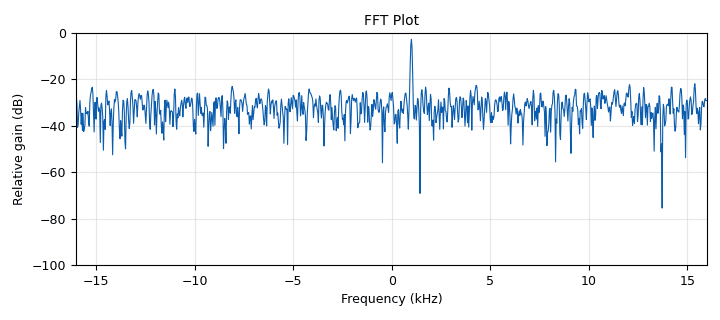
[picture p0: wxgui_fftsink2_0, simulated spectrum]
<?xml version='1.0' encoding='utf-8'?>
<flow_graph>
<block>
<key>blocks_udp_sink</key>
<param><key>id</key><value>blocks_udp_sink_0</value></param>
<param><key>type</key><value>byte</value></param>
<param><key>ipaddr</key><value>127.0.0.1</value></param>
<param><key>port</key><value>6663</value></param>
<param><key>psize</key><value>1472</value></param>
<param><key>eof</key><value>True</value></param>
<param><key>vlen</key><value>1</value></param>
</block>
<block>
<key>variable</key>
<param><key>id</key><value>samp_rate</value></param>
<param><key>value</key><value>32000</value></param>
</block>
<block>
<key>logpwrfft_x</key>
<param><key>id</key><value>logpwrfft_x_0</value></param>
<param><key>type</key><value>complex</value></param>
<param><key>sample_rate</key><value>samp_rate</value></param>
<param><key>fft_size</key><value>1024</value></param>
<param><key>ref_scale</key><value>2</value></param>
<param><key>frame_rate</key><value>5</value></param>
<param><key>average</key><value>True</value></param>
<param><key>avg_alpha</key><value>1.0</value></param>
</block>
<block>
<key>blocks_throttle</key>
<param><key>id</key><value>blocks_throttle_0_0</value></param>
<param><key>type</key><value>complex</value></param>
<param><key>samples_per_second</key><value>samp_rate</value></param>
</block>
<block>
<key>analog_sig_source_x</key>
<param><key>id</key><value>analog_sig_source_x_1</value></param>
<param><key>type</key><value>complex</value></param>
<param><key>samp_rate</key><value>samp_rate</value></param>
<param><key>waveform</key><value>analog.GR_SIN_WAVE</value></param>
<param><key>freq</key><value>1000</value></param>
<param><key>amp</key><value>1</value></param>
<param><key>offset</key><value>0</value></param>
</block>
<block>
<key>options</key>
<param><key>id</key><value>top_block</value></param>
<param><key>generate_options</key><value>wx_gui</value></param>
<param><key>category</key><value>Custom</value></param>
</block>
<block>
<key>wxgui_fftsink2</key>
<param><key>id</key><value>wxgui_fftsink2_0</value></param>
<param><key>type</key><value>complex</value></param>
<param><key>title</key><value>FFT Plot</value></param>
<param><key>samp_rate</key><value>samp_rate</value></param>
<param><key>baseband_freq</key><value>0</value></param>
<param><key>y_per_div</key><value>10</value></param>
<param><key>y_divs</key><value>10</value></param>
<param><key>ref_level</key><value>0</value></param>
<param><key>ref_scale</key><value>2.0</value></param>
<param><key>fft_size</key><value>1024</value></param>
<param><key>fft_rate</key><value>15</value></param>
<param><key>peak_hold</key><value>False</value></param>
<param><key>average</key><value>False</value></param>
<param><key>avg_alpha</key><value>0</value></param>
<param><key>win</key><value>None</value></param>
<param><key>freqvar</key><value>None</value></param>
</block>
<block>
<key>blocks_vector_to_stream</key>
<param><key>id</key><value>blocks_vector_to_stream_0</value></param>
<param><key>type</key><value>float</value></param>
<param><key>num_items</key><value>1024</value></param>
</block>
<block>
<key>blocks_float_to_char</key>
<param><key>id</key><value>blocks_float_to_char_0</value></param>
<param><key>scale</key><value>1</value></param>
</block>
<block>
<key>digital_simple_framer</key>
<param><key>id</key><value>digital_simple_framer_0</value></param>
<param><key>payload_bytesize</key><value>1024</value></param>
</block>
<block>
<key>blocks_add_xx</key>
<param><key>id</key><value>blocks_add_xx_0</value></param>
<param><key>type</key><value>complex</value></param>
</block>
<block>
<key>analog_noise_source_x</key>
<param><key>id</key><value>analog_noise_source_x_0</value></param>
<param><key>type</key><value>complex</value></param>
<param><key>noise_type</key><value>analog.GR_GAUSSIAN</value></param>
<param><key>amp</key><value>1</value></param>
<param><key>seed</key><value>0</value></param>
</block>
<connection><source_block_id>blocks_throttle_0_0</source_block_id><sink_block_id>wxgui_fftsink2_0</sink_block_id><source_key>0</source_key><sink_key>0</sink_key></connection>
<connection><source_block_id>logpwrfft_x_0</source_block_id><sink_block_id>blocks_vector_to_stream_0</sink_block_id><source_key>0</source_key><sink_key>0</sink_key></connection>
<connection><source_block_id>blocks_throttle_0_0</source_block_id><sink_block_id>logpwrfft_x_0</sink_block_id><source_key>0</source_key><sink_key>0</sink_key></connection>
<connection><source_block_id>blocks_float_to_char_0</source_block_id><sink_block_id>digital_simple_framer_0</sink_block_id><source_key>0</source_key><sink_key>0</sink_key></connection>
<connection><source_block_id>digital_simple_framer_0</source_block_id><sink_block_id>blocks_udp_sink_0</sink_block_id><source_key>0</source_key><sink_key>0</sink_key></connection>
<connection><source_block_id>analog_sig_source_x_1</source_block_id><sink_block_id>blocks_add_xx_0</sink_block_id><source_key>0</source_key><sink_key>1</sink_key></connection>
<connection><source_block_id>blocks_add_xx_0</source_block_id><sink_block_id>blocks_throttle_0_0</sink_block_id><source_key>0</source_key><sink_key>0</sink_key></connection>
<connection><source_block_id>blocks_vector_to_stream_0</source_block_id><sink_block_id>blocks_float_to_char_0</sink_block_id><source_key>0</source_key><sink_key>0</sink_key></connection>
<connection><source_block_id>analog_noise_source_x_0</source_block_id><sink_block_id>blocks_add_xx_0</sink_block_id><source_key>0</source_key><sink_key>0</sink_key></connection>
</flow_graph>
